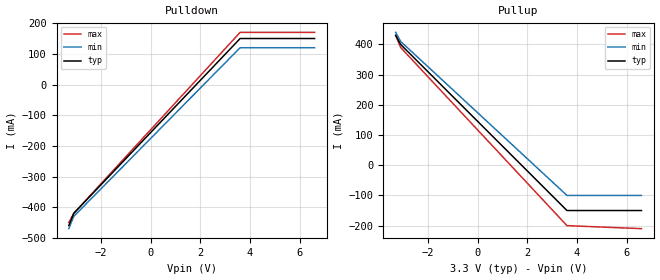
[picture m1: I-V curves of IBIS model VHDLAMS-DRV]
[IBIS Ver]   4.1
[File Name]   ideal_driver.ibs
[File Rev]   1.0
[Date]   Aug 13, 2002
[Source]   Mentor Graphics
[Notes]   Syntax Sample Only, the IBIS Data does not correlate
|   with the [External Model] Data
[Disclaimer]   Model not guaranteed. Example only.
[Copyright]   None
[Component]   VHDL-AMS_EG
[Manufacturer]   Sample
[Package]
| variable   typ   min   max
R_pkg   67.00m   40.00m   85.00m
L_pkg   7.00nH   3.40nH   11.20nH
C_pkg   1.14pF   0.83pF   1.50pF
[Pin]  signal_name   model_name   R_pin   L_pin   C_pin
1   Sample_output   VHDLAMS-DRV   65.00m   4.50nH   0.85pF
| Models and submodels in the file (1): VHDLAMS-DRV (Output)
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|   Model VHDLAMS-DRV
[Model]   VHDLAMS-DRV
Model_type   Output
Polarity   Non-Inverting
C_comp   4.60pF   3.50pF   6.00pF
Vmeas = 1.15V
Cref  = 1pF
Rref  = 50ohms
Vref  = 0V
[External Model]
Language VHDL-AMS
| Corner corner_name file_name   circuit_name entity(architecture)
Corner   Typ   ideal_driver.vhd   driver_ideal(linear)
Corner   Min   ideal_driver.vhd   driver_ideal(linear)
Corner   Max   ideal_driver.vhd   driver_ideal(linear)
| Ports List of port names (in same order as in VHDL-AMS)
Ports D_drive A_puref A_pdref A_signal
[End External Model]
[Temperature Range]   27.00   70.00   0.000
[Voltage Range]   3.30V   3.13V   3.46V
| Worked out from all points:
|   slope of the pulldown table from 0 to 0.495 V, typ, clamps not added: 11.8 ohm
|   slope of the pullup table from 0 to 0.495 V, typ, clamps not added: 12.2 ohm
| Note, for this simple example the IBIS electrical content
| is shown for illustration.  It does not correspond to the linear
| driver external model.  Many lines are deleted.
[Pulldown]
| voltage   I(typ)   I(min)   I(max)
-3.3V     -460mA     -470mA     -450mA
-3.1V     -420mA     -430mA     -420mA
3.6V      150mA      120mA      170mA
6.6V      150mA      120mA      170mA
| voltage   I(typ)   I(min)   I(max)
[Pullup]
-3.3V     430mA      440mA      430mA
-3.1V     400mA      410mA      390mA
3.6V      -150mA     -100mA     -200mA
6.6V      -150mA     -100mA     -210mA
[Ramp]
| variable   typ   min   max
dV/dt_r   1.54/0.28n   1.38/0.42n   1.67/0.20n
dV/dt_f   1.61/0.30n   1.48/0.39n   1.72/0.25n
R_load = 50.00
| ...  Waveform Table Data Deleted
| End [Model] VHDLAMS-DRV
